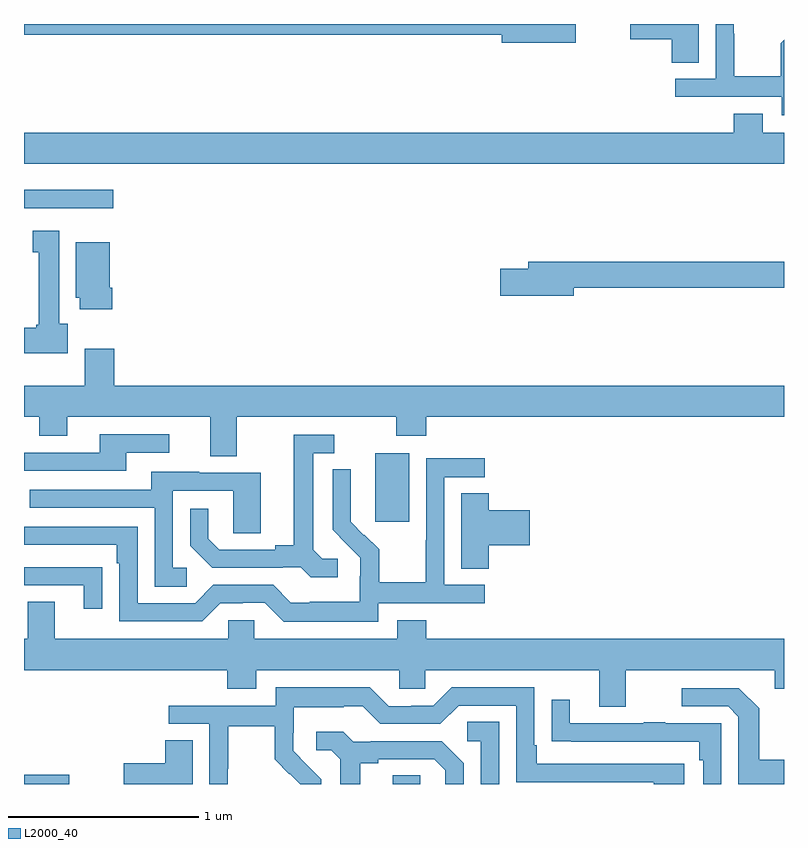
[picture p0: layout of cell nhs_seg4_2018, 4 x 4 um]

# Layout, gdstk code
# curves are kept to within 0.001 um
import gdstk
lib = gdstk.Library(unit=1e-6, precision=1e-09)
def R(c, l, rs):  # rectangles x0, y0, x1, y1
    for r in rs: c.add(gdstk.rectangle(r[:2], r[2:], *l))
def P(c, l, *ps):  # polygons
    for p in ps: c.add(gdstk.Polygon(p, *l))
L2000_40 = (2000, 40)

nhs_seg4_2018 = lib.new_cell('nhs_seg4_2018')
R(nhs_seg4_2018, L2000_40, [(215,782.9,215.239,782.948), (216.941,782.9,217.086,782.945), (216.848,784.281,217.027,784.642), (215,785.931,215.47,786.028)])
P(nhs_seg4_2018, L2000_40, [(218.551,786.9),(218.19,786.9),(218.19,786.821),(218.408,786.821),(218.408,786.697),(218.551,786.697)],
  [(217.903,786.9),(215,786.9),(215,786.844),(217.514,786.844),(217.514,786.802),(217.903,786.802)],
  [(219,786.816),(218.983,786.799),(218.983,786.625),(218.739,786.625),(218.739,786.848),(218.736,786.848),(218.736,786.9),(218.64,786.9),(218.64,786.612),(218.427,786.612),(218.427,786.516),(218.988,786.516),(218.988,786.419),(219,786.419)],
  [(219,786.328),(218.887,786.328),(218.887,786.427),(218.735,786.427),(218.735,786.328),(215,786.328),(215,786.164),(219,786.164)],
  [(215.23,785.322),(215.185,785.322),(215.185,785.812),(215.045,785.812),(215.045,785.699),(215.078,785.699),(215.078,785.316),(215.065,785.316),(215.065,785.302),(215,785.302),(215,785.168),(215.23,785.168)],
  [(215.465,785.512),(215.452,785.512),(215.452,785.752),(215.273,785.752),(215.273,785.46),(215.294,785.46),(215.294,785.4),(215.465,785.4)],
  [(217.894,785.512),(219,785.512),(219,785.648),(217.655,785.648),(217.655,785.612),(217.506,785.612),(217.506,785.47),(217.894,785.47)],
  [(216.121,784.832),(216.958,784.832),(216.958,784.733),(217.118,784.733),(217.118,784.832),(219,784.832),(219,784.996),(215.474,784.996),(215.474,785.191),(215.321,785.191),(215.321,784.996),(215,784.996),(215,784.832),(215.08,784.832),(215.08,784.733),(215.227,784.733),(215.227,784.832),(215.981,784.832),(215.981,784.624),(216.121,784.624)],
  [(215.539,784.644),(215.764,784.644),(215.764,784.74),(215.399,784.74),(215.399,784.644),(215,784.644),(215,784.548),(215.539,784.548)],
  [(216.652,784.086),(216.57,784.086),(216.523,784.133),(216.523,784.641),(216.634,784.641),(216.634,784.737),(216.419,784.737),(216.419,784.157),(216.323,784.157),(216.323,784.134),(216.028,784.134),(215.971,784.191),(215.971,784.348),(215.874,784.348),(215.874,784.154),(215.99,784.038),(216.362,784.038),(216.362,784.041),(216.456,784.041),(216.508,783.989),(216.652,783.989)],
  [(216.864,783.852),(217.426,783.852),(217.426,783.948),(217.212,783.948),(217.212,784.515),(217.426,784.515),(217.426,784.614),(217.116,784.614),(217.116,784.184),(217.114,784.184),(217.114,783.961),(216.869,783.961),(216.869,784.135),(216.792,784.212),(216.789,784.209),(216.719,784.28),(216.72,784.556),(216.624,784.556),(216.624,784.238),(216.77,784.09),(216.77,783.993),(216.768,783.993),(216.768,783.859),(216.505,783.859),(216.505,783.855),(216.405,783.855),(216.312,783.948),(215.997,783.948),(215.901,783.852),(215.598,783.852),(215.598,784.254),(215,784.254),(215,784.158),(215.489,784.158),(215.489,784.061),(215.502,784.061),(215.502,783.756),(215.937,783.756),(216.033,783.852),(216.152,783.852),(216.152,783.855),(216.267,783.855),(216.367,783.755),(216.864,783.755)],
  [(215.857,784.038),(215.784,784.038),(215.784,784.443),(216.102,784.443),(216.102,784.219),(216.247,784.219),(216.247,784.539),(215.923,784.539),(215.923,784.543),(215.669,784.543),(215.669,784.449),(215.029,784.449),(215.029,784.353),(215.688,784.353),(215.688,783.937),(215.857,783.937)],
  [(217.445,784.157),(217.663,784.157),(217.663,784.34),(217.445,784.34),(217.445,784.43),(217.301,784.43),(217.301,784.033),(217.445,784.033)],
  [(215.411,784.04),(215.309,784.04),(215.309,784.041),(215,784.041),(215,783.945),(215.315,783.945),(215.315,783.822),(215.411,783.822)],
  [(218.167,783.5),(218.951,783.5),(218.951,783.401),(219,783.401),(219,783.664),(217.118,783.664),(217.118,783.763),(216.965,783.763),(216.965,783.664),(216.213,783.664),(216.213,783.762),(216.075,783.762),(216.075,783.664),(215.161,783.664),(215.161,783.859),(215.021,783.859),(215.021,783.664),(215,783.664),(215,783.5),(216.071,783.5),(216.071,783.401),(216.223,783.401),(216.223,783.5),(216.975,783.5),(216.975,783.402),(217.113,783.402),(217.113,783.5),(218.027,783.5),(218.027,783.306),(218.167,783.306)],
  [(216.072,782.98),(216.075,782.98),(216.075,783.204),(216.319,783.204),(216.319,783.029),(216.396,782.952),(216.399,782.955),(216.455,782.9),(216.564,782.9),(216.564,782.926),(216.418,783.074),(216.418,783.171),(216.42,783.171),(216.42,783.305),(216.683,783.305),(216.683,783.309),(216.783,783.309),(216.876,783.216),(217.191,783.216),(217.287,783.312),(217.59,783.312),(217.59,782.91),(218.315,782.91),(218.315,782.9),(218.476,782.9),(218.476,783.006),(217.699,783.006),(217.699,783.103),(217.686,783.103),(217.686,783.408),(217.251,783.408),(217.155,783.312),(217.037,783.312),(217.037,783.309),(216.921,783.309),(216.821,783.409),(216.324,783.409),(216.324,783.312),(215.763,783.312),(215.763,783.216),(215.976,783.216),(215.976,782.9),(216.072,782.9)],
  [(219,783.027),(218.869,783.027),(218.869,783.299),(218.763,783.405),(218.463,783.405),(218.463,783.309),(218.706,783.309),(218.76,783.255),(218.76,782.9),(219,782.9)],
  [(218.67,783.219),(218.375,783.219),(218.375,783.224),(218.263,783.224),(218.263,783.219),(217.873,783.219),(217.873,783.343),(217.777,783.343),(217.777,783.124),(217.879,783.124),(217.879,783.123),(218.554,783.123),(218.554,783.026),(218.574,783.026),(218.574,782.9),(218.67,782.9)],
  [(217.5,783.227),(217.332,783.227),(217.332,783.126),(217.404,783.126),(217.404,782.9),(217.5,782.9)],
  [(216.769,783.008),(216.865,783.008),(216.865,783.03),(217.16,783.03),(217.217,782.973),(217.217,782.9),(217.314,782.9),(217.314,783.01),(217.198,783.126),(216.826,783.126),(216.826,783.123),(216.732,783.123),(216.68,783.175),(216.537,783.175),(216.537,783.078),(216.618,783.078),(216.665,783.031),(216.665,782.9),(216.769,782.9)],
  [(215.887,783.131),(215.744,783.131),(215.744,783.008),(215.526,783.008),(215.526,782.9),(215.887,782.9)])

lib.write_gds('nhs_seg4_2018.gds')
